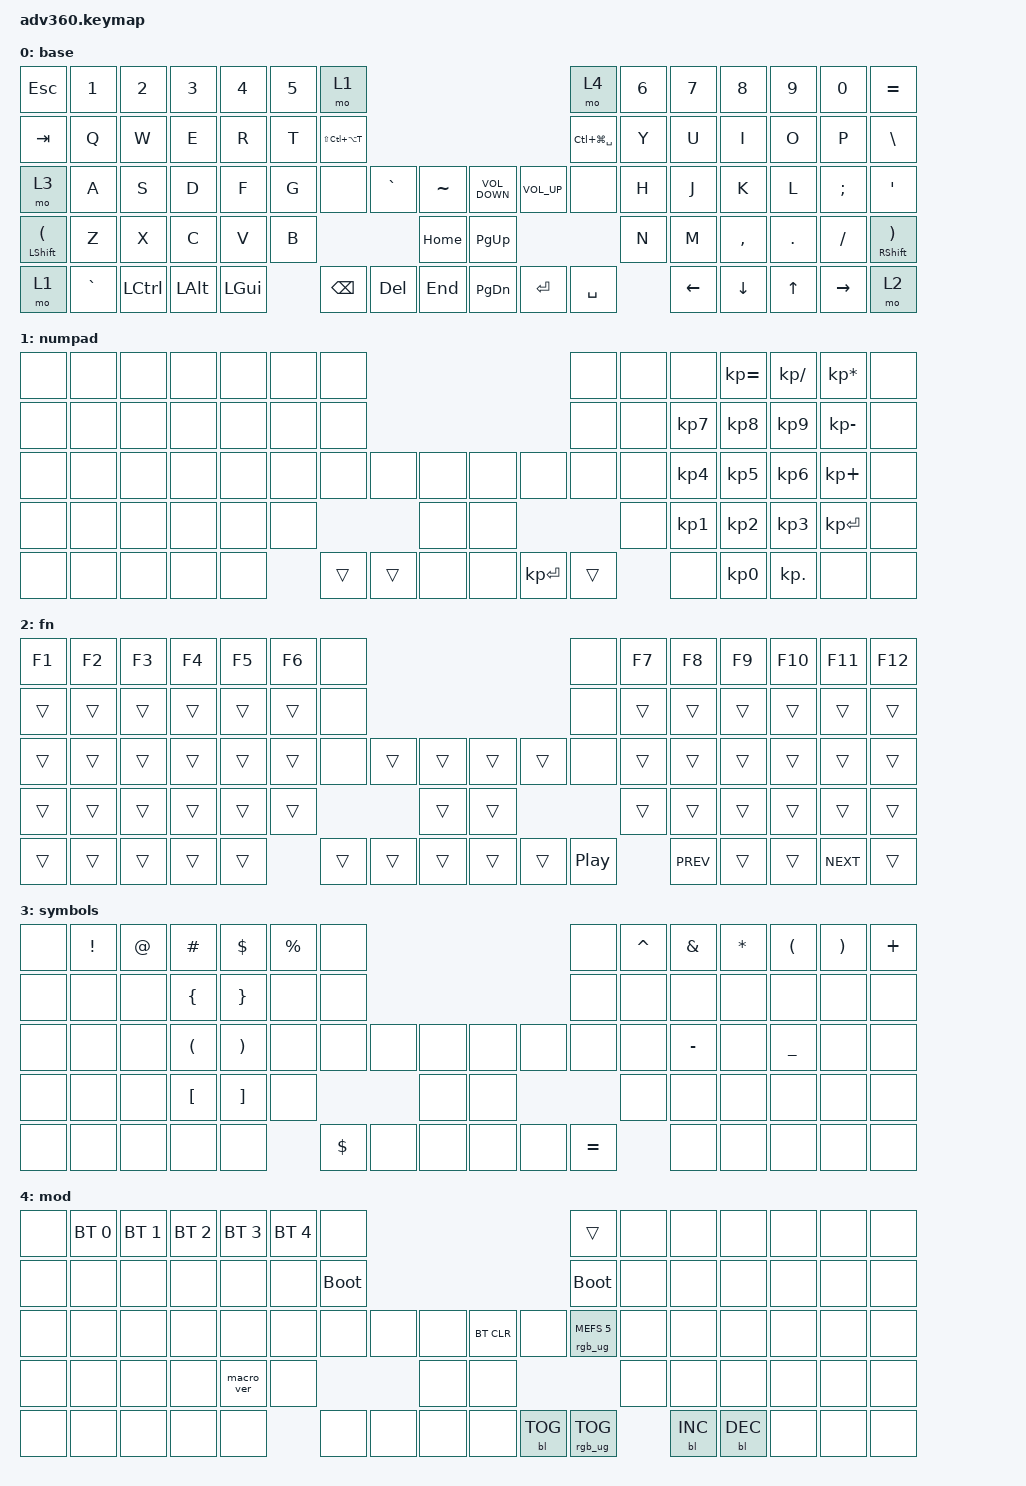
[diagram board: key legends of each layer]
#include <behaviors.dtsi>
#include <dt-bindings/zmk/backlight.h>
#include <dt-bindings/zmk/bt.h>
#include <dt-bindings/zmk/keys.h>
#include <dt-bindings/zmk/rgb.h>

/ {
    behaviors {
        #include "macros.dtsi"
      #include "version.dtsi"
      #ifndef VERSION_MACRO

        macro_ver: macro_ver {
            compatible = "zmk,behavior-macro";
            label = "macro_version";
            #binding-cells = <0>;
            bindings = <&kp RET>;
        };

        #endif

        hmr: hmr {
            compatible = "zmk,behavior-hold-tap";
            label = "HMR";
            bindings = <&kp>, <&kp>;

            #binding-cells = <2>;
            tapping-term-ms = <280>;
            quick-tap-ms = <175>;
            flavor = "balanced";
            hold-trigger-key-positions = <1 2 3 4 5 6 14 15 16 17 18 19 20 28 29 30 31 32 33 34 46 47 48 49 50 51 60 61 62 63 64 0 35 36 37 38 52 53 65 66 67 68 69 70>;
            hold-trigger-on-release;
            require-prior-idle-ms = <150>;
        };

        hml: hml {
            compatible = "zmk,behavior-hold-tap";
            label = "HML";
            bindings = <&kp>, <&kp>;

            #binding-cells = <2>;
            tapping-term-ms = <280>;
            quick-tap-ms = <175>;
            flavor = "balanced";
            hold-trigger-key-positions = <7 8 9 10 11 12 13 21 22 23 24 25 26 27 38 39 40 41 42 43 44 45 54 55 56 57 58 59 69 70 71 72 73 74 75 35 36 37 52 53 65 66 67 68>;
            hold-trigger-on-release;
            require-prior-idle-ms = <150>;
        };
    };

    macros {
    };

    keymap {
        compatible = "zmk,keymap";

        base {
            bindings = <
&kp ESC                     &kp N1     &kp N2     &kp N3    &kp N4    &kp N5  &mo 1                                                                            &mo 4              &kp N6  &kp N7    &kp N8          &kp N9        &kp N0           &kp EQUAL
&kp TAB                     &kp Q      &kp W      &kp E     &kp R     &kp T   &kp LS(LC(LA(T)))                                                                &kp LC(LG(SPACE))  &kp Y   &kp U     &kp I           &kp O         &kp P            &kp BSLH
&mo 3                       &kp A      &kp S      &kp D     &kp F     &kp G   &none              &kp GRAVE  &kp TILDE      &kp C_VOLUME_DOWN  &kp C_VOLUME_UP  &none              &kp H   &kp J     &kp K           &kp L         &kp SEMI         &kp SQT
&mt LSHFT LEFT_PARENTHESIS  &kp Z      &kp X      &kp C     &kp V     &kp B                                 &kp HOME       &kp PG_UP                                              &kp N   &kp M     &kp COMMA       &kp DOT       &kp FSLH         &mt RSHFT RIGHT_PARENTHESIS
&mo 1                       &kp GRAVE  &kp LCTRL  &kp LALT  &kp LGUI          &kp BSPC           &kp DEL    &kp END        &kp PG_DN          &kp ENTER        &kp SPACE                  &kp LEFT  &kp DOWN_ARROW  &kp UP_ARROW  &kp RIGHT_ARROW  &mo 2
            >;
        };

        numpad {
            bindings = <
&none  &none  &none  &none  &none  &none  &none                                           &none   &none  &none            &kp KP_EQUAL  &kp KP_SLASH     &kp KP_MULTIPLY  &none
&none  &none  &none  &none  &none  &none  &none                                           &none   &none  &kp KP_NUMBER_7  &kp KP_N8     &kp KP_N9        &kp KP_MINUS     &none
&none  &none  &none  &none  &none  &none  &none   &none   &none      &none  &none         &none   &none  &kp KP_N4        &kp KP_N5     &kp KP_N6        &kp KP_PLUS      &none
&none  &none  &none  &none  &none  &none                  &none      &none                        &none  &kp KP_N1        &kp KP_N2     &kp KP_NUMBER_3  &kp KP_ENTER     &none
&none  &none  &none  &none  &none         &trans  &trans  &none      &none  &kp KP_ENTER  &trans         &none            &kp KP_N0     &kp KP_DOT       &none            &none
            >;
        };

        fn {
            bindings = <
&kp F1  &kp F2  &kp F3  &kp F4  &kp F5  &kp F6  &none                                       &none             &kp F7  &kp F8      &kp F9  &kp F10  &kp F11     &kp F12
&trans  &trans  &trans  &trans  &trans  &trans  &none                                       &none             &trans  &trans      &trans  &trans   &trans      &trans
&trans  &trans  &trans  &trans  &trans  &trans  &none   &trans  &trans      &trans  &trans  &none             &trans  &trans      &trans  &trans   &trans      &trans
&trans  &trans  &trans  &trans  &trans  &trans                  &trans      &trans                            &trans  &trans      &trans  &trans   &trans      &trans
&trans  &trans  &trans  &trans  &trans          &trans  &trans  &trans      &trans  &trans  &kp C_PLAY_PAUSE          &kp C_PREV  &trans  &trans   &kp C_NEXT  &trans
            >;
        };

        symbols {
            bindings = <
&none  &kp EXCLAMATION  &kp AT_SIGN  &kp HASH              &kp DOLLAR             &kp PERCENT  &none                                       &none      &kp CARET  &kp AMPERSAND  &kp STAR  &kp LEFT_PARENTHESIS  &kp RIGHT_PARENTHESIS  &kp PLUS
&none  &none            &none        &kp LEFT_BRACE        &kp RIGHT_BRACE        &none        &none                                       &none      &none      &none          &none     &none                 &none                  &none
&none  &none            &none        &kp LEFT_PARENTHESIS  &kp RIGHT_PARENTHESIS  &none        &none       &none  &none      &none  &none  &none      &none      &kp MINUS      &none     &kp UNDERSCORE        &none                  &none
&none  &none            &none        &kp LEFT_BRACKET      &kp RIGHT_BRACKET      &none                           &none      &none                    &none      &none          &none     &none                 &none                  &none
&none  &none            &none        &none                 &none                               &kp DOLLAR  &none  &none      &none  &none  &kp EQUAL             &none          &none     &none                 &none                  &none
            >;
        };

        mod {
            bindings = <
&none  &bt BT_SEL 0  &bt BT_SEL 1  &bt BT_SEL 2  &bt BT_SEL 3  &bt BT_SEL 4  &none                                                  &trans                  &none  &none       &none       &none  &none  &none
&none  &none         &none         &none         &none         &none         &bootloader                                            &bootloader             &none  &none       &none       &none  &none  &none
&none  &none         &none         &none         &none         &none         &none        &none  &none      &bt BT_CLR  &none       &rgb_ug RGB_MEFS_CMD 5  &none  &none       &none       &none  &none  &none
&none  &none         &none         &none         &macro_ver    &none                             &none      &none                                           &none  &none       &none       &none  &none  &none
&none  &none         &none         &none         &none                       &none        &none  &none      &none       &bl BL_TOG  &rgb_ug RGB_TOG                &bl BL_INC  &bl BL_DEC  &none  &none  &none
            >;
        };
    };
};
